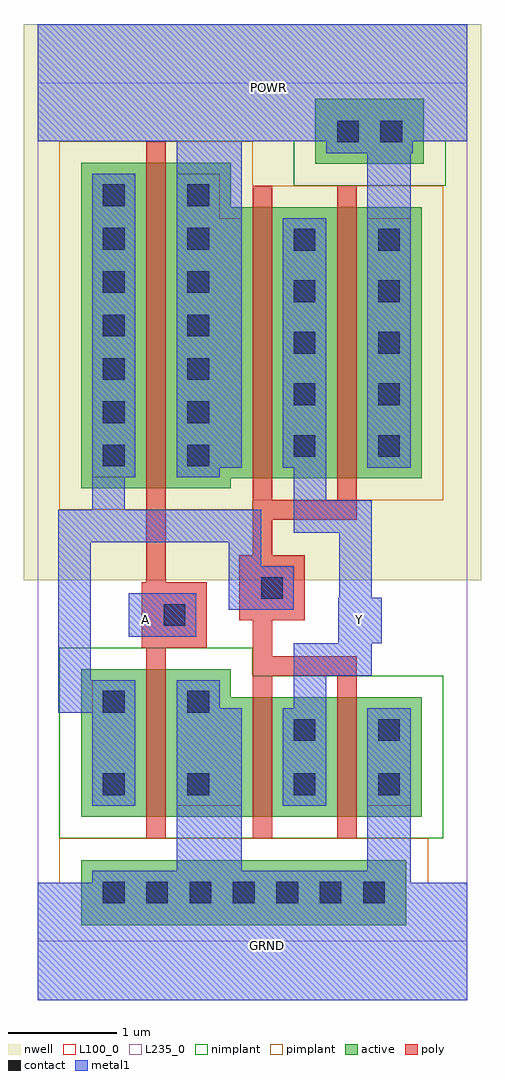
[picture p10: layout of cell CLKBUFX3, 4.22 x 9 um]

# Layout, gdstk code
import gdstk
lib = gdstk.Library(unit=1e-6, precision=1e-09)
def R(c, l, rs):  # rectangles x0, y0, x1, y1
    for r in rs: c.add(gdstk.rectangle(r[:2], r[2:], *l))
def A(c, l, x, y, w, h, nx, ny, dx, dy):  # array of equal rectangles
    R(c, l, [(x+i*dx, y+j*dy, x+i*dx+w, y+j*dy+h) for i in range(nx) for j in range(ny)])
def P(c, l, *ps):  # polygons
    for p in ps: c.add(gdstk.Polygon(p, *l))
active = (1, 0)
nwell = (2, 0)
poly = (3, 0)
nimplant = (4, 0)
pimplant = (5, 0)
contact = (6, 0)
metal1 = (7, 0)
L100_0 = (100, 0)
L235_0 = (235, 0)

clkbufx3 = lib.new_cell('CLKBUFX3')
R(clkbufx3, active, [(0.4,0.15,3.4,0.75), (0.4,1.15,1,2.51), (1,1.15,1.18,2.51), (1.98,1.15,2.16,2.25), (2.16,1.15,2.76,2.25), (2.76,1.15,2.94,2.25), (2.94,1.15,3.54,2.25), (0.4,4.18,1,7.18), (1,4.18,1.18,7.18), (1.98,4.27,2.16,6.77), (2.16,4.27,2.76,6.77), (2.76,4.27,2.94,6.77), (2.94,4.27,3.54,6.77), (2.56,7.17,3.56,7.77)])
P(clkbufx3, active, [(1.98,6.77),(1.78,6.77),(1.78,7.18),(1.18,7.18),(1.18,4.18),(1.78,4.18),(1.78,4.27),(1.98,4.27)],
  [(1.98,2.25),(1.78,2.25),(1.78,2.51),(1.18,2.51),(1.18,1.15),(1.98,1.15)])
R(clkbufx3, nwell, [(-0.13,3.33,4.09,8.46)])
R(clkbufx3, poly, [(1,0.95,1.18,1.15), (1.98,0.95,2.16,1.15), (1.98,0.95,2.16,2.45), (2.76,0.95,2.94,1.15), (2.76,0.95,2.94,2.45), (1.98,2.25,2.16,2.45), (2.76,2.25,2.94,2.45), (1,2.51,1.18,2.71), (1.86,2.96,2.46,3.56), (1,3.98,1.18,7.38), (1,3.98,1.18,4.18), (1.98,4.07,2.16,4.27), (1.98,4.07,2.16,6.97), (2.76,4.07,2.94,4.27), (2.76,4.07,2.94,6.97), (1.98,6.77,2.16,6.97), (2.76,6.77,2.94,6.97), (1,7.18,1.18,7.38)])
P(clkbufx3, poly, [(1.56,3.31),(1.18,3.31),(1.18,3.98),(1,3.98),(1,3.31),(0.96,3.31),(0.96,2.71),(1,2.71),(1,0.95),(1.18,0.95),(1.18,2.71),(1.56,2.71)])
P(clkbufx3, nimplant, [(3.96,8.46),(0,8.46),(0,7.38),(2.36,7.38),(2.36,6.97),(3.76,6.97),(3.76,7.38),(3.96,7.38)],
  [(3.74,2.45),(1.98,2.45),(1.98,2.71),(0.2,2.71),(0.2,0.95),(3.74,0.95)])
P(clkbufx3, pimplant, [(3.74,6.97),(1.98,6.97),(1.98,7.38),(0.2,7.38),(0.2,3.98),(1.98,3.98),(1.98,4.07),(3.74,4.07)],
  [(3.96,0.54),(3.6,0.54),(3.6,0.95),(0.2,0.95),(0.2,0.54),(0,0.54),(0,-0.54),(3.96,-0.54)])
A(clkbufx3, contact, 0.6, 0.35, 0.2, 0.2, 7, 1, 0.4, 0)
A(clkbufx3, contact, 0.6, 4.38, 0.2, 0.2, 1, 7, 0, 0.4)
A(clkbufx3, contact, 1.38, 4.38, 0.2, 0.2, 1, 7, 0, 0.4)
A(clkbufx3, contact, 2.36, 4.47, 0.2, 0.2, 1, 5, 0, 0.475)
A(clkbufx3, contact, 3.14, 4.47, 0.2, 0.2, 1, 5, 0, 0.475)
R(clkbufx3, contact, [(0.6,1.35,0.8,1.55), (1.38,1.35,1.58,1.55), (2.36,1.35,2.56,1.55), (3.14,1.35,3.34,1.55), (2.36,1.85,2.56,2.05), (3.14,1.85,3.34,2.05), (0.6,2.11,0.8,2.31), (1.38,2.11,1.58,2.31), (1.16,2.91,1.36,3.11), (2.06,3.16,2.26,3.36), (2.76,7.37,2.96,7.57), (3.16,7.37,3.36,7.57)])
R(clkbufx3, metal1, [(0,-0.54,3.96,0.54), (2.77,2.75,3.17,3.17), (0.84,2.81,1.46,3.21), (0.84,2.82,1.14,3.12), (2.82,2.82,3.12,3.12), (1.96,3.06,2.36,3.46), (0,7.38,3.96,8.46)])
P(clkbufx3, metal1, [(1.88,7.38),(1.28,7.38),(1.28,4.28),(1.68,4.28),(1.68,4.37),(1.88,4.37)],
  [(3.46,7.67),(2.66,7.67),(2.66,7.27),(3.04,7.27),(3.04,6.67),(3.44,6.67),(3.44,7.27),(3.46,7.27)],
  [(2.06,3.98),(0.8,3.98),(0.8,4.28),(0.5,4.28),(0.5,3.98),(0.19,3.98),(0.19,2.11),(0.9,2.11),(0.9,2.41),(0.49,2.41),(0.49,3.68),(1.76,3.68),(1.76,3.06),(2.06,3.06)],
  [(3.08,4.07),(2.66,4.07),(2.66,4.37),(2.36,4.37),(2.36,3.77),(2.78,3.77),(2.78,2.75),(2.36,2.75),(2.36,2.15),(2.66,2.15),(2.66,2.45),(3.08,2.45)],
  [(1.88,2.15),(1.68,2.15),(1.68,2.41),(1.28,2.41),(1.28,1.25),(1.88,1.25)],
  [(3.44,1.25),(3.04,1.25),(3.04,0.65),(1.88,0.65),(1.88,1.25),(1.28,1.25),(1.28,0.65),(0.5,0.65),(0.5,0.25),(3.3,0.25),(3.3,0.54),(3.44,0.54)])
R(clkbufx3, L100_0, [(0.5,1.25,0.9,2.41), (3.04,1.25,3.44,2.15), (0.5,4.28,0.9,7.08), (3.04,4.37,3.44,6.67)])
P(clkbufx3, L100_0, [(1.88,6.67),(1.68,6.67),(1.68,7.08),(1.28,7.08),(1.28,4.28),(1.68,4.28),(1.68,4.37),(1.88,4.37)],
  [(1.88,2.15),(1.68,2.15),(1.68,2.41),(1.28,2.41),(1.28,1.25),(1.88,1.25)])
R(clkbufx3, L235_0, [(0,0,3.96,7.92)])
clkbufx3.add(gdstk.FlexPath([(2.07,4.07),(2.07,2.45)], 0.18, ends="flush", simple_path=True, layer=3, datatype=0))  # poly
clkbufx3.add(gdstk.FlexPath([(2.16,3.98),(2.94,3.98)], 0.18, ends="flush", simple_path=True, layer=3, datatype=0))  # poly
clkbufx3.add(gdstk.FlexPath([(2.16,2.54),(2.94,2.54)], 0.18, ends="flush", simple_path=True, layer=3, datatype=0))  # poly
clkbufx3.add(gdstk.FlexPath([(0.7,4.28),(0.7,7.08)], 0.4, ends="flush", simple_path=True, layer=7, datatype=0))  # metal1
clkbufx3.add(gdstk.FlexPath([(2.46,4.37),(2.46,6.67)], 0.4, ends="flush", simple_path=True, layer=7, datatype=0))  # metal1
clkbufx3.add(gdstk.FlexPath([(3.24,4.37),(3.24,6.67)], 0.4, ends="flush", simple_path=True, layer=7, datatype=0))  # metal1
clkbufx3.add(gdstk.FlexPath([(2.46,1.25),(2.46,2.15)], 0.4, ends="flush", simple_path=True, layer=7, datatype=0))  # metal1
clkbufx3.add(gdstk.FlexPath([(3.24,1.25),(3.24,2.15)], 0.4, ends="flush", simple_path=True, layer=7, datatype=0))  # metal1
clkbufx3.add(gdstk.FlexPath([(0.7,1.25),(0.7,2.41)], 0.4, ends="flush", simple_path=True, layer=7, datatype=0))  # metal1
clkbufx3.add(gdstk.Label('GRND', (2.12,-0.04), layer=230, texttype=0))
clkbufx3.add(gdstk.Label('A', (0.99,2.97), layer=230, texttype=0))
clkbufx3.add(gdstk.Label('Y', (2.97,2.97), layer=230, texttype=0))
clkbufx3.add(gdstk.Label('POWR', (2.13,7.87), layer=230, texttype=0))

lib.write_gds('CLKBUFX3.gds')
